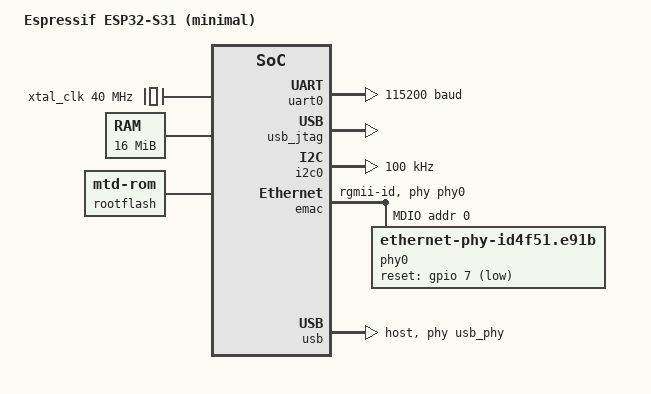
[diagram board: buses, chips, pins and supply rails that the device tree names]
// SPDX-License-Identifier: (GPL-2.0 OR MIT)
/*
 * Minimal ESP32-S31 device tree.
 *
 * U-Boot initializes PSRAM and maps the NOR flash XIP window before Linux
 * starts. OpenSBI owns the machine-mode CLIC bank and provides cache
 * maintenance through vendor SBI calls.
 */

/dts-v1/;

#include <dt-bindings/clock/esp32s31.h>
#include <dt-bindings/gpio/gpio.h>
#include <dt-bindings/interrupt-controller/irq.h>
#include <dt-bindings/pinctrl/esp32s31-iomux.h>
#include <dt-bindings/reset/esp32s31.h>

/ {
	compatible = "esp,esp32s31";
	#address-cells = <1>;
	#size-cells = <1>;
	model = "Espressif ESP32-S31 (minimal)";

	aliases {
		ethernet0 = &emac;
		i2c0 = &i2c0;
		serial0 = &uart0;
	};

	xtal_clk: clock-xtal {
		compatible = "fixed-clock";
		#clock-cells = <0>;
		clock-frequency = <40000000>;
	};

	mpll_clk: clock-mpll {
		compatible = "fixed-clock";
		#clock-cells = <0>;
		clock-frequency = <500000000>;
	};

	chosen {
		bootargs =
		"earlycon=sbi console=ttyS0 root=mtd:rootfs rootfstype=cramfs ro swiotlb=128";
	};

	cpus {
		#address-cells = <1>;
		#size-cells = <0>;
		timebase-frequency = <320000000>;

		cpu0: cpu@0 {
			device_type = "cpu";
			reg = <0>;
			compatible = "riscv";
			riscv,isa = "rv32imac_zicsr_zifencei";
			riscv,isa-base = "rv32i";
			riscv,isa-extensions = "i", "m", "a", "c", "zicsr",
					       "zifencei";
			mmu-type = "riscv,sv32";
			clock-frequency = <320000000>;

			cpu0_intc: interrupt-controller {
				#interrupt-cells = <1>;
				interrupt-controller;
				compatible = "riscv,cpu-intc";
			};
		};
	};

	memory@50000000 {
		device_type = "memory";
		reg = <0x50000000 0x01000000>;
	};

	reserved-memory {
		#address-cells = <1>;
		#size-cells = <1>;
		ranges;

		dma_pool: dma-pool@2f030000 {
			compatible = "shared-dma-pool";
			linux,dma-default;
			no-map;
			reg = <0x2f030000 0x40000>;
		};
	};

	soc {
		compatible = "simple-bus";
		#address-cells = <1>;
		#size-cells = <1>;
		ranges;

		clic: interrupt-controller@10a00000 {
			compatible = "esp,esp32s31-clic";
			reg = <0x10a00000 0x2000>;
			interrupt-controller;
			#interrupt-cells = <2>;
			interrupt-parent = <&cpu0_intc>;
		};

		intmtx: interrupt-controller@20585000 {
			compatible = "esp,esp32s31-intmtx";
			reg = <0x20585000 0x800>;
			interrupt-controller;
			#interrupt-cells = <2>;
			interrupt-parent = <&clic>;
		};

		uart0: serial@2038a000 {
			compatible = "esp,esp32s3-uart";
			reg = <0x2038a000 0x100>;
			clocks = <&xtal_clk>;
			current-speed = <115200>;
			interrupt-parent = <&intmtx>;
			interrupts = <9 IRQ_TYPE_LEVEL_HIGH>;
			status = "okay";
		};

		/*
		 * USB-Serial/JTAG. A syscon because its PHY configuration register
		 * also holds the GPIO33/34 pad enable, which pinctrl clears.
		 */
		usb_jtag: syscon@20391000 {
			compatible = "esp,esp32s31-usb-serial-jtag", "syscon";
			reg = <0x20391000 0x1000>;
		};

		pinctrl: pinctrl@20582000 {
			compatible = "esp,esp32s31-pinctrl";
			reg = <0x20582000 0x100>,
			      <0x20583000 0xe00>,
			      <0x20588000 0x400>;
			reg-names = "iomux", "matrix", "cnnt";
			esp,usb-jtag = <&usb_jtag>;
			clocks = <&clk ESP_S31_CLK_IOMUX_APB>,
				 <&clk ESP_S31_CLK_IOMUX>;
			clock-names = "apb", "iomux";
			resets = <&rst ESP_S31_RST_IOMUX>;

			espfunc: espfunc {
				/*
				 * I2C Pins - SDA(GPIO51) and SCL(GPIO50) according to
				 * ESP32S31 Core FunctionBoard v1.1 schematic.
				 */
				i2c0_pins: i2c0-pins {
					pinmux =
						<ESP_PINMUX(51, ESP_FUNC_S31_I2C0_SDA_ID)>,
						<ESP_PINMUX(50, ESP_FUNC_S31_I2C0_SCL_ID)>;

					input-enable;
					bias-pull-up;
					drive-strength = <5>;
					drive-open-drain;
				};

				emac_pins: emac-pins {
					pinmux =
						/* MDC, MDIO */
						<ESP_PINMUX(5, ESP_FUNC_S31_GMII_MDC_ID)>,
						<ESP_PINMUX(6, ESP_FUNC_S31_GMII_MDIO_ID)>,
						/* TXD0-3, TX_CTL, TX_CLK */
						<ESP_PINMUX(8, ESP_FUNC_S31_GMAC_ID)>,
						<ESP_PINMUX(9, ESP_FUNC_S31_GMAC_ID)>,
						<ESP_PINMUX(10, ESP_FUNC_S31_GMAC_ID)>,
						<ESP_PINMUX(11, ESP_FUNC_S31_GMAC_ID)>,
						<ESP_PINMUX(12, ESP_FUNC_S31_GMAC_ID)>,
						<ESP_PINMUX(13, ESP_FUNC_S31_GMAC_ID)>,
						/* RX_CLK, RX_CTL, RXD3-0 */
						<ESP_PINMUX(14, ESP_FUNC_S31_GMAC_ID)>,
						<ESP_PINMUX(15, ESP_FUNC_S31_GMAC_ID)>,
						<ESP_PINMUX(16, ESP_FUNC_S31_GMAC_ID)>,
						<ESP_PINMUX(17, ESP_FUNC_S31_GMAC_ID)>,
						<ESP_PINMUX(18, ESP_FUNC_S31_GMAC_ID)>,
						<ESP_PINMUX(19, ESP_FUNC_S31_GMAC_ID)>;

					input-enable;
					bias-disable;
					drive-strength = <20>;
				};
			};
		};

		gpio: gpio@20583000 {
			compatible = "esp,esp32s31-gpio";
			reg = <0x20583000 0xe00>;
			reg-names = "gpio";
			#gpio-cells = <2>;
			gpio-controller;
			ngpios = <62>;
			/*
			 * Pad settings live in the IO_MUX window, so claiming a
			 * line has to reach pinctrl -- without this range,
			 * setting a line to input returns -EPROBE_DEFER.
			 */
			gpio-ranges = <&pinctrl 0 0 62>;
			interrupt-controller;
			#interrupt-cells = <2>;
			interrupt-parent = <&intmtx>;
			/* ETS_GPIO_INTR0..1_SOURCE = 61..62, one per bank */
			interrupts = <61 IRQ_TYPE_LEVEL_HIGH>,
				     <62 IRQ_TYPE_LEVEL_HIGH>;
		};

		/*
		 * HP_SYS_CLKRST. Peripheral clock gates and resets that sit
		 * outside the peripherals' own register windows.
		 */
		sysctl: syscon@20587000 {
			compatible = "esp,esp32s31-clkrst", "syscon",
				     "simple-mfd";
			reg = <0x20587000 0x400>;

			/*
			 * Register-less children. Both providers take the
			 * HP_SYS_CLKRST window from this parent node and the
			 * CNNT_SYS one, described below, by phandle.
			 */
			clk: clock-controller {
				compatible = "esp,esp32s31-clk";
				#clock-cells = <1>;
				clocks = <&xtal_clk>, <&mpll_clk>;
				clock-names = "xtal", "mpll";
				esp,cnnt-sys = <&cnnt_sys>;
			};

			rst: reset-controller {
				compatible = "esp,esp32s31-reset";
				#reset-cells = <1>;
				esp,cnnt-sys = <&cnnt_sys>;
			};
		};

		/*
		 * CNNT_SYS. The EMAC's RGMII mode, inversion and reference
		 * clock selects, plus the clock gate and reset the providers
		 * above drive.
		 */
		cnnt_sys: syscon@20359000 {
			compatible = "esp,esp32s31-cnnt-sys", "syscon";
			reg = <0x20359000 0x100>;
		};

		/*
		 * HP_ALIVE_SYS. Carries the USB OTG-HS PHY glue -- the PLL and
		 * suspend forcing, and the D+/D- pulldowns -- among unrelated
		 * always-on control, so it is a shared syscon rather than a
		 * window the PHY node claims for itself.
		 */
		hp_alive_sys: syscon@20589000 {
			compatible = "esp,esp32s31-hp-alive-sys", "syscon";
			reg = <0x20589000 0x100>;
		};

		i2c0: i2c@20385000 {
			compatible = "esp,esp32s31-i2c";
			reg = <0x20385000 0x1000>;
			#address-cells = <1>;
			#size-cells = <0>;
			interrupt-parent = <&intmtx>;
			interrupts = <23 IRQ_TYPE_LEVEL_HIGH>;
			clocks = <&clk ESP_S31_CLK_I2C0_APB>,
				 <&clk ESP_S31_CLK_I2C0>;
			clock-names = "apb", "core";
			assigned-clocks = <&clk ESP_S31_CLK_I2C0>;
			assigned-clock-parents = <&xtal_clk>;
			resets = <&rst ESP_S31_RST_I2C0>;
			pinctrl-names = "default";
			pinctrl-0 = <&i2c0_pins>;
			clock-frequency = <100000>;
		};

		/*
		 * Synopsys DWMAC-3.70a, driven by stmmac through the
		 * dwmac-esp32s31 glue.
		 *
		 * Only the Function-CoreBoard-1 carries a PHY. On a Korvo-1 this
		 * node still probes and claims 14 pads, and never gets a link.
		 */
		emac: ethernet@20350000 {
			compatible = "esp,esp32s31-dwmac", "snps,dwmac-3.70a";
			reg = <0x20350000 0x2000>;
			interrupt-parent = <&intmtx>;
			/* ETS_SBD_INTR_SOURCE */
			interrupts = <98 IRQ_TYPE_LEVEL_HIGH>;
			interrupt-names = "macirq";
			clocks = <&clk ESP_S31_CLK_EMAC_SYS>,
				 <&clk ESP_S31_CLK_EMAC_REF>,
				 <&clk ESP_S31_CLK_EMAC_PTP>;
			clock-names = "stmmaceth", "ref", "ptp_ref";
			assigned-clocks = <&clk ESP_S31_CLK_EMAC_REF>;
			assigned-clock-parents = <&mpll_clk>;
			resets = <&rst ESP_S31_RST_EMAC>;
			reset-names = "stmmaceth";
			esp,cnnt-sys = <&cnnt_sys>;
			dma-noncoherent;
			snps,force_thresh_dma_mode;
			snps,txpbl = <32>;
			snps,rxpbl = <8>;
			snps,no-pbl-x8;
			snps,mixed-burst;
			phy-mode = "rgmii-id";
			phy-handle = <&phy0>;
			pinctrl-names = "default";
			pinctrl-0 = <&emac_pins>;

			mdio {
				compatible = "snps,dwmac-mdio";
				#address-cells = <1>;
				#size-cells = <0>;

				/*
				 * Motorcomm YT8531 (IDR1 0x4f51, IDR2 0xe91b).
				 */
				phy0: ethernet-phy@0 {
					compatible = "ethernet-phy-id4f51.e91b";
					reg = <0>;
					reset-gpios = <&gpio 7 GPIO_ACTIVE_LOW>;
					reset-assert-us = <10000>;
					reset-deassert-us = <500000>;
				};
			};
		};

		systimer: timer@20399000 {
			compatible = "esp,esp32s31-systimer";
			reg = <0x20399000 0x100>;
			clock-frequency = <16000000>;
			interrupt-parent = <&intmtx>;
			interrupts = <33 IRQ_TYPE_LEVEL_HIGH>;
			interrupt-names = "target0";
		};

		usb_phy: usb-phy@20380000 {
			compatible = "esp,esp32s31-usb-phy";
			reg = <0x20380000 0x20>;
			#phy-cells = <0>;
			clocks = <&clk ESP_S31_CLK_USB_OTGHS_PHYREF>;
			clock-names = "ref";
			esp,hp-alive-sys = <&hp_alive_sys>;
			esp,cnnt-sys = <&cnnt_sys>;
		};

		usb: usb@20300000 {
			compatible = "esp,esp32s31-hsotg", "snps,dwc2";
			reg = <0x20300000 0x40000>;
			interrupt-parent = <&intmtx>;
			/* ETS_USB_OTGHS_INTR_SOURCE */
			interrupts = <99 IRQ_TYPE_LEVEL_HIGH>;
			clocks = <&clk ESP_S31_CLK_USB_OTGHS_BUS>;
			clock-names = "otg";
			resets = <&rst ESP_S31_RST_USB_OTGHS>;
			reset-names = "dwc2";
			phys = <&usb_phy>;
			phy-names = "usb2-phy";
			dr_mode = "host";
			dma-noncoherent;
		};

		rootflash: flash@40b00000 {
			compatible = "mtd-rom";
			reg = <0x40b00000 0x00400000>;
			bank-width = <4>;
			linux,mtd-name = "rootfs";
			#address-cells = <1>;
			#size-cells = <1>;
		};
	};
};
